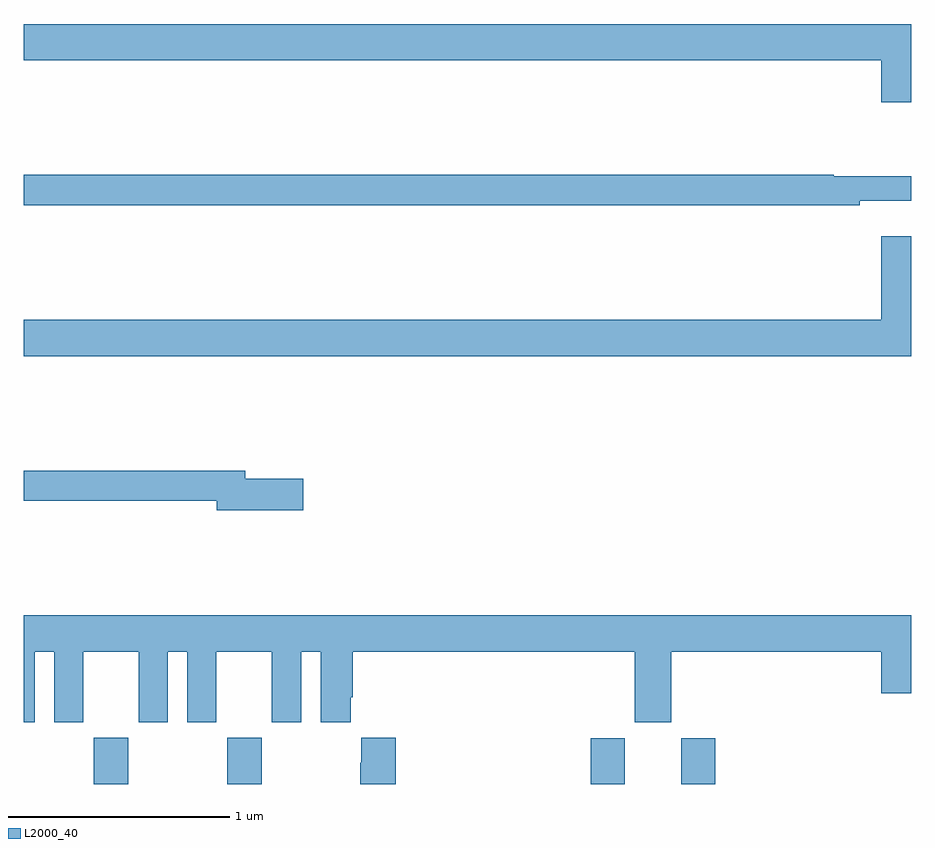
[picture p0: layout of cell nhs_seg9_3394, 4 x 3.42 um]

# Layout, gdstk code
import gdstk
lib = gdstk.Library(unit=1e-6, precision=1e-09)
def R(c, l, rs):  # rectangles x0, y0, x1, y1
    for r in rs: c.add(gdstk.rectangle(r[:2], r[2:], *l))
def P(c, l, *ps):  # polygons
    for p in ps: c.add(gdstk.Polygon(p, *l))
L2000_40 = (2000, 40)

nhs_seg9_3394 = lib.new_cell('nhs_seg9_3394')
R(nhs_seg9_3394, L2000_40, [(305.317,1186.5,305.472,1186.708), (305.917,1186.5,306.072,1186.708), (307.556,1186.5,307.708,1186.707), (307.964,1186.5,308.117,1186.707)])
P(nhs_seg9_3394, L2000_40, [(309,1189.924),(305,1189.924),(305,1189.76),(308.864,1189.76),(308.864,1189.572),(309,1189.572)],
  [(308.768,1189.127),(309,1189.127),(309,1189.237),(308.651,1189.237),(308.651,1189.244),(305,1189.244),(305,1189.108),(308.768,1189.108)],
  [(309,1188.967),(308.864,1188.967),(308.864,1188.592),(305,1188.592),(305,1188.428),(309,1188.428)],
  [(306.259,1187.876),(305.998,1187.876),(305.998,1187.912),(305,1187.912),(305,1187.776),(305.87,1187.776),(305.87,1187.734),(306.259,1187.734)],
  [(305.05,1187.096),(305.138,1187.096),(305.138,1186.779),(305.269,1186.779),(305.269,1187.096),(305.519,1187.096),(305.519,1186.779),(305.65,1186.779),(305.65,1187.096),(305.738,1187.096),(305.738,1186.779),(305.869,1186.779),(305.869,1187.096),(306.119,1187.096),(306.119,1186.779),(306.25,1186.779),(306.25,1187.096),(306.338,1187.096),(306.338,1186.779),(306.475,1186.779),(306.475,1186.891),(306.482,1186.891),(306.482,1187.096),(307.754,1187.096),(307.754,1186.779),(307.918,1186.779),(307.918,1187.096),(308.864,1187.096),(308.864,1186.908),(309,1186.908),(309,1187.26),(305,1187.26),(305,1186.779),(305.05,1186.779)],
  [(306.677,1186.708),(306.521,1186.708),(306.521,1186.595),(306.517,1186.595),(306.517,1186.5),(306.677,1186.5)])

lib.write_gds('nhs_seg9_3394.gds')
